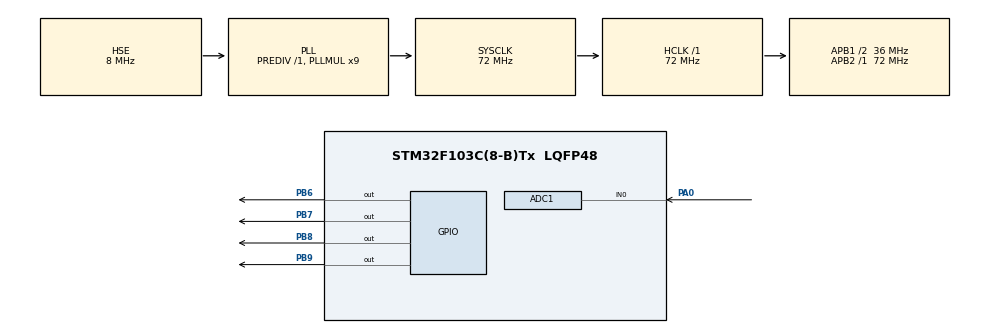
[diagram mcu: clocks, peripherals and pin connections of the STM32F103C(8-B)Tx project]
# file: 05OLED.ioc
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ADC1.Channel-0\#ChannelRegularConversion=ADC_CHANNEL_0
ADC1.EnableAnalogWatchDog=false
ADC1.NbrOfConversionFlag=1
ADC1.Rank-0\#ChannelRegularConversion=1
ADC1.SamplingTime-0\#ChannelRegularConversion=ADC_SAMPLETIME_1CYCLE_5
ADC1.master=1
Mcu.Family=STM32F1
Mcu.Name=STM32F103C(8-B)Tx
Mcu.Package=LQFP48
NVIC.PriorityGroup=NVIC_PRIORITYGROUP_4
PA0-WKUP.Signal=ADCx_IN0
PA13.Mode=Serial_Wire
PA13.Signal=SYS_JTMS-SWDIO
PA14.Mode=Serial_Wire
PA14.Signal=SYS_JTCK-SWCLK
PB6.Signal=GPIO_Output
PB7.PinState=GPIO_PIN_SET
PB7.Signal=GPIO_Output
PB8.GPIO_ModeDefaultOutputPP=GPIO_MODE_OUTPUT_OD
PB8.GPIO_PuPd=GPIO_PULLUP
PB8.PinState=GPIO_PIN_SET
PB8.Signal=GPIO_Output
PB9.GPIO_ModeDefaultOutputPP=GPIO_MODE_OUTPUT_OD
PB9.GPIO_PuPd=GPIO_PULLUP
PB9.PinState=GPIO_PIN_SET
PB9.Signal=GPIO_Output
PD0-OSC_IN.Mode=HSE-External-Oscillator
PD0-OSC_IN.Signal=RCC_OSC_IN
PD1-OSC_OUT.Mode=HSE-External-Oscillator
PD1-OSC_OUT.Signal=RCC_OSC_OUT
ProjectManager.HeapSize=0x200
ProjectManager.StackSize=0x400
ProjectManager.TargetToolchain=MDK-ARM V5.32
RCC.ADCPresc=RCC_ADCPCLK2_DIV6
RCC.AHBFreq_Value=72000000
RCC.APB1CLKDivider=RCC_HCLK_DIV2
RCC.APB1Freq_Value=36000000
RCC.APB1TimFreq_Value=72000000
RCC.APB2Freq_Value=72000000
RCC.APB2TimFreq_Value=72000000
RCC.HCLKFreq_Value=72000000
RCC.PLLMUL=RCC_PLL_MUL9
RCC.PLLSourceVirtual=RCC_PLLSOURCE_HSE
RCC.SYSCLKFreq_VALUE=72000000
RCC.SYSCLKSource=RCC_SYSCLKSOURCE_PLLCLK
RCC.USBFreq_Value=72000000
SH.ADCx_IN0.0=ADC1_IN0,IN0
board=custom

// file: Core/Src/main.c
/* USER CODE BEGIN Header */
/**
  ******************************************************************************
  * @file           : main.c
  * @brief          : Main program body
  ******************************************************************************
  * @attention
  *
  * Copyright (c) 2025 STMicroelectronics.
  * All rights reserved.
  *
  * This software is licensed under terms that can be found in the LICENSE file
  * in the root directory of this software component.
  * If no LICENSE file comes with this software, it is provided AS-IS.
  *
  ******************************************************************************
  */
/* USER CODE END Header */
#include "main.h"
#include "adc.h"
#include "gpio.h"

/* USER CODE BEGIN Includes */
// ���OLEDͷ�ļ�
#include "OLED.h"

/* USER CODE END Includes */

/* USER CODE BEGIN PTD */
	char arr[] = {'B'};
	char arr1[] = "Hello World!"; // �Զ����\0

/* USER CODE END PTD */

void SystemClock_Config(void);

int main(void)
{

  /* USER CODE BEGIN 1 */
	uint16_t value = 0;
	float voltage = 0;

  /* USER CODE END 1 */

  /* MCU Configuration--------------------------------------------------------*/

  /* Reset of all peripherals, Initializes the Flash interface and the Systick. */
  HAL_Init();

  /* Configure the system clock */
  SystemClock_Config();

  /* Initialize all configured peripherals */
  MX_GPIO_Init();
  MX_ADC1_Init();
  /* USER CODE BEGIN 2 */
	OLED_Init();
	OLED_Clear();

	// 启动 ADC 硬件自校准
	// &hadc1:需要校准的 ADC 外设
	HAL_ADCEx_Calibration_Start(&hadc1);
	OLED_ShowString(1, 1, "value:");
	OLED_ShowString(2, 1, "voltage:0.00v");
  /* USER CODE END 2 */

  /* Infinite loop */
  /* USER CODE BEGIN WHILE */
	/*
	因为CUBEMX配置的ADC是单次转换非连续
	所以需要在while中不断重新启动ADC来持续读取ADC的值
	*/
  while (1)
  {
    /* USER CODE END WHILE */

    /* USER CODE BEGIN 3 */
		// 开启 ADC 并启动常规通道转换
		HAL_ADC_Start(&hadc1);

		// 等待（阻塞）ADC 常规通道转换完成
		// HAL_MAX_DELAY:无限等待
		HAL_ADC_PollForConversion(&hadc1, HAL_MAX_DELAY);

		// 得到ADC的采样值
		value = HAL_ADC_GetValue(&hadc1);

		// 将采样值转化为电压值
		voltage = (float) value / 4096 * 3.3;

		// OLED显示adc的转化值
		OLED_ShowNum(1, 7, value, 4);

		// OLED显示电压整数
		OLED_ShowNum(2, 9, (uint16_t)voltage, 1);

		// OLED显示电压小数
		OLED_ShowNum(2, 11, (uint16_t)(voltage*100)%100, 2);

		HAL_Delay(1000);

  }
  /* USER CODE END 3 */
}

void SystemClock_Config(void)
{
  RCC_OscInitTypeDef RCC_OscInitStruct = {0};
  RCC_ClkInitTypeDef RCC_ClkInitStruct = {0};
  RCC_PeriphCLKInitTypeDef PeriphClkInit = {0};

  /** Initializes the RCC Oscillators according to the specified parameters
  * in the RCC_OscInitTypeDef structure.
  */
  RCC_OscInitStruct.OscillatorType = RCC_OSCILLATORTYPE_HSE;
  RCC_OscInitStruct.HSEState = RCC_HSE_ON;
  RCC_OscInitStruct.HSEPredivValue = RCC_HSE_PREDIV_DIV1;
  RCC_OscInitStruct.HSIState = RCC_HSI_ON;
  RCC_OscInitStruct.PLL.PLLState = RCC_PLL_ON;
  RCC_OscInitStruct.PLL.PLLSource = RCC_PLLSOURCE_HSE;
  RCC_OscInitStruct.PLL.PLLMUL = RCC_PLL_MUL9;
  if (HAL_RCC_OscConfig(&RCC_OscInitStruct) != HAL_OK)
  {
    Error_Handler();
  }

  /** Initializes the CPU, AHB and APB buses clocks
  */
  RCC_ClkInitStruct.ClockType = RCC_CLOCKTYPE_HCLK|RCC_CLOCKTYPE_SYSCLK
                              |RCC_CLOCKTYPE_PCLK1|RCC_CLOCKTYPE_PCLK2;
  RCC_ClkInitStruct.SYSCLKSource = RCC_SYSCLKSOURCE_PLLCLK;
  RCC_ClkInitStruct.AHBCLKDivider = RCC_SYSCLK_DIV1;
  RCC_ClkInitStruct.APB1CLKDivider = RCC_HCLK_DIV2;
  RCC_ClkInitStruct.APB2CLKDivider = RCC_HCLK_DIV1;

  if (HAL_RCC_ClockConfig(&RCC_ClkInitStruct, FLASH_LATENCY_2) != HAL_OK)
  {
    Error_Handler();
  }
  PeriphClkInit.PeriphClockSelection = RCC_PERIPHCLK_ADC;
  PeriphClkInit.AdcClockSelection = RCC_ADCPCLK2_DIV6;
  if (HAL_RCCEx_PeriphCLKConfig(&PeriphClkInit) != HAL_OK)
  {
    Error_Handler();
  }
}

void Error_Handler(void)
{
  __disable_irq();
  while (1)
  {
  }
}
